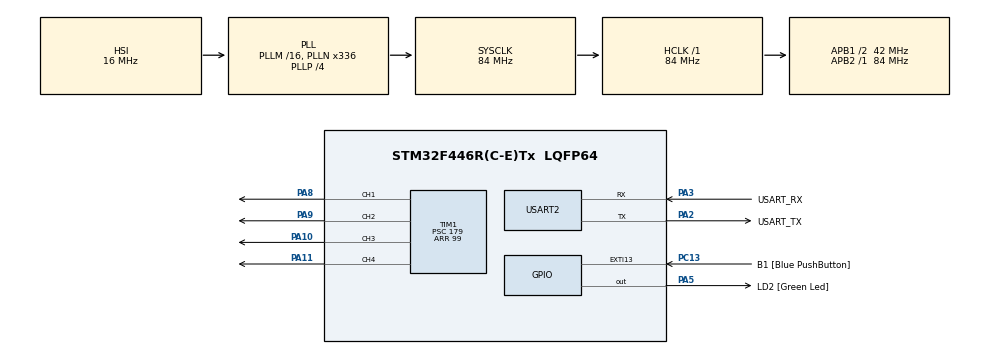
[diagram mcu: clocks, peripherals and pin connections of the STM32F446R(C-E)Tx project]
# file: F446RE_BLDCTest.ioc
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Mcu.Family=STM32F4
Mcu.Name=STM32F446R(C-E)Tx
Mcu.Package=LQFP64
NVIC.PriorityGroup=NVIC_PRIORITYGROUP_0
PA10.Signal=S_TIM1_CH3
PA11.Signal=S_TIM1_CH4
PA13.GPIO_Label=TMS
PA13.Mode=Serial_Wire
PA13.Signal=SYS_JTMS-SWDIO
PA14.GPIO_Label=TCK
PA14.Mode=Serial_Wire
PA14.Signal=SYS_JTCK-SWCLK
PA2.GPIO_Label=USART_TX
PA2.Mode=Asynchronous
PA2.Signal=USART2_TX
PA3.GPIO_Label=USART_RX
PA3.Mode=Asynchronous
PA3.Signal=USART2_RX
PA5.GPIO_Label=LD2 [Green Led]
PA5.Signal=GPIO_Output
PA8.Signal=S_TIM1_CH1
PA9.Signal=S_TIM1_CH2
PB3.GPIO_Label=SWO
PB3.Signal=SYS_JTDO-SWO
PC13.GPIO_Label=B1 [Blue PushButton]
PC13.GPIO_ModeDefaultEXTI=GPIO_MODE_IT_FALLING
PC13.Signal=GPXTI13
PC14-OSC32_IN.Mode=LSE-External-Oscillator
PC14-OSC32_IN.Signal=RCC_OSC32_IN
PC15-OSC32_OUT.Mode=LSE-External-Oscillator
PC15-OSC32_OUT.Signal=RCC_OSC32_OUT
PH0-OSC_IN.Mode=HSE-External-Oscillator
PH0-OSC_IN.Signal=RCC_OSC_IN
PH1-OSC_OUT.Mode=HSE-External-Oscillator
PH1-OSC_OUT.Signal=RCC_OSC_OUT
ProjectManager.HeapSize=0x200
ProjectManager.StackSize=0x400
ProjectManager.TargetToolchain=CMake
RCC.48MHZClocksFreq_Value=84000000
RCC.AHBFreq_Value=84000000
RCC.APB1CLKDivider=RCC_HCLK_DIV2
RCC.APB1Freq_Value=42000000
RCC.APB1TimFreq_Value=84000000
RCC.APB2Freq_Value=84000000
RCC.APB2TimFreq_Value=84000000
RCC.CortexFreq_Value=84000000
RCC.FLatency-AdvancedSettings=FLASH_LATENCY_2
RCC.HCLKFreq_Value=84000000
RCC.HSE_VALUE=8000000
RCC.HSI_VALUE=16000000
RCC.PLLN=336
RCC.PLLP=RCC_PLLP_DIV4
RCC.SYSCLKFreq_VALUE=84000000
RCC.SYSCLKSource=RCC_SYSCLKSOURCE_PLLCLK
RCC.USBFreq_Value=168000000
RCC.VCOOutputFreq_Value=336000000
SH.S_TIM1_CH1.0=TIM1_CH1,PWM Generation1 CH1
SH.S_TIM1_CH2.0=TIM1_CH2,PWM Generation2 CH2
SH.S_TIM1_CH3.0=TIM1_CH3,PWM Generation3 CH3
SH.S_TIM1_CH4.0=TIM1_CH4,PWM Generation4 CH4
TIM1.AutoReloadPreload=TIM_AUTORELOAD_PRELOAD_ENABLE
TIM1.Channel-PWM\ Generation1\ CH1=TIM_CHANNEL_1
TIM1.Channel-PWM\ Generation2\ CH2=TIM_CHANNEL_2
TIM1.Channel-PWM\ Generation3\ CH3=TIM_CHANNEL_3
TIM1.Channel-PWM\ Generation4\ CH4=TIM_CHANNEL_4
TIM1.Period=99
TIM1.Prescaler=179
TIM1.TIM_MasterOutputTrigger=TIM_TRGO_ENABLE
TIM1.TIM_MasterSlaveMode=TIM_MASTERSLAVEMODE_DISABLE
USART2.VirtualMode=VM_ASYNC
board=NUCLEO-F446RE

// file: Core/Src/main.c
/* USER CODE BEGIN Header */
/**
  ******************************************************************************
  * @file           : main.c
  * @brief          : Main program body
  ******************************************************************************
  * @attention
  *
  * Copyright (c) 2026 STMicroelectronics.
  * All rights reserved.
  *
  * This software is licensed under terms that can be found in the LICENSE file
  * in the root directory of this software component.
  * If no LICENSE file comes with this software, it is provided AS-IS.
  *
  ******************************************************************************
  */
/* USER CODE END Header */
#include "main.h"

/* USER CODE BEGIN Includes */
#include <stdio.h>
#include <math.h>
#include <sys/_intsup.h>

/* USER CODE END Includes */

TIM_HandleTypeDef htim1;

UART_HandleTypeDef huart2;

void SystemClock_Config(void);
static void MX_GPIO_Init(void);
static void MX_TIM1_Init(void);
static void MX_USART2_UART_Init(void);

/* USER CODE BEGIN 0 */
// モーター制御の変数を定義
float dCurr = 0.0f;  // d軸電流
float qCurr = 0.0f;  // q軸電流

float aCurr = 0.0f;  // α軸電流
float bCurr = 0.0f;  // β軸電流

float uCurr = 0.0f;  // U相電流
float vCurr = 0.0f;  // V相電流
float wCurr = 0.0f;  // W相電流

float norCurr[3] = {0.0f, 0.0f, 0.0f};  // 正規化された各相Duty指令値
int outDuty[3] = {0, 0, 0};  // 各相の出力Duty指令値

int nowDeg = 0;  // 現在の角度（度数法）
float nowRad = 0.0f;  // 現在の角度（ラジアン）
int increment = 1;  // 角度の増分（度数法）

// モーター制御用のクラーク変換とパーク変換の関数を定義
float calcClarkeA(float uCurr, float vCurr, float wCurr) {
    float aCurr = 0.666667f * (uCurr - 0.5f * vCurr - 0.5f * wCurr);
    return aCurr;
}

// クラーク変換（β軸成分）
float calcClarkeB(float uCurr, float vCurr, float wCurr) {
    float bCurr = 0.666667f * 0.866025f * (vCurr - wCurr);
    return bCurr;
}

// パーク変換 (d軸成分)
float calcParkD(float aCurr, float bCurr, float rad) {
    float dCurr = cosf(rad) * aCurr + sinf(rad) * bCurr;
    return dCurr;
}

// パーク変換 (q軸成分)
float calcParkQ(float aCurr, float bCurr, float rad) {
    float qCurr = -sinf(rad) * aCurr + cosf(rad) * bCurr;
    return qCurr;
}

// 逆パーク変換 (α軸成分)
float calcInvParkA(float dCurr, float qCurr, float rad) {
    float aCurr = cosf(rad) * dCurr - sinf(rad) * qCurr;
    return aCurr;
}

// 逆パーク変換 (β軸成分)
float calcInvParkB(float dCurr, float qCurr, float rad) {
    float bCurr = sinf(rad) * dCurr + cosf(rad) * qCurr;
    return bCurr;
}

// 逆クラーク変換
float calcInvClarke(float alpha, float beta, int phase) {
    // phase → U:0, V:1, W:2
    float angle = (2.0f * (float)M_PI * (float)phase) / 3.0f;
    float hoge = alpha * cosf(angle) + beta * sinf(angle);
    return hoge;
}

// PWMデューティ比を計算する関数
int calcDuty(float norCurr, int limitDuty, int maxDuty) {
  float hoge = 0.5f * norCurr;
  int pwm = (int)(hoge * limitDuty + maxDuty / 2.0f);
  return pwm;
}

/* USER CODE END 0 */

int main(void)
{

  /* MCU Configuration--------------------------------------------------------*/

  /* Reset of all peripherals, Initializes the Flash interface and the Systick. */  HAL_Init();

  /* Configure the system clock */
  SystemClock_Config();

  /* Initialize all configured peripherals */
  MX_GPIO_Init();
  MX_TIM1_Init();
  MX_USART2_UART_Init();

  /* Infinite loop */
  /* USER CODE BEGIN WHILE */
  //　モーターに入力したい指令電流
  dCurr = 0.05f;  // d軸電流
  qCurr = 0.0f;  // q軸電流

  printf("init\n");
  printf("increment:%d\n", increment);
  printf("dCurr:%f\n", dCurr);
  printf("qCurr:%f\n", qCurr);

  //TIM1を初期化
  MX_TIM1_Init();
  HAL_TIM_PWM_Start(&htim1, TIM_CHANNEL_1);  //PA8 (D7)
  HAL_TIM_PWM_Start(&htim1, TIM_CHANNEL_2);  //PA9 (D8)
  HAL_TIM_PWM_Start(&htim1, TIM_CHANNEL_3);  //PA10 (D2)
  HAL_TIM_PWM_Start(&htim1, TIM_CHANNEL_4);  //PA11

  // モーターの電気角を0°にする
  HAL_GPIO_WritePin(LD2_GPIO_Port, LD2_Pin, 1);  // LED ON

  aCurr = calcInvParkA(dCurr, qCurr, nowRad);  // 逆パーク変換でα軸電流を計算
  bCurr = calcInvParkB(dCurr, qCurr, nowRad);  // 逆パーク変換でβ軸電流を計算

  for(int i=0; i<3; i++){
    norCurr[i] = calcInvClarke(aCurr, bCurr, i);  // 逆クラーク変換で各相電流を計算
    outDuty[i] = calcDuty(norCurr[i], 90, 100);  // 各相の出力デューティ比を計算
  }

  __HAL_TIM_SET_COMPARE(&htim1, TIM_CHANNEL_1, outDuty[0]);  // PWMデューティ比を設定
  __HAL_TIM_SET_COMPARE(&htim1, TIM_CHANNEL_2, outDuty[1]);  // PWMデューティ比を設定
  __HAL_TIM_SET_COMPARE(&htim1, TIM_CHANNEL_3, outDuty[2]);  // PWMデューティ比を設定

  HAL_Delay(1000);

  while (1)
  {
    HAL_GPIO_WritePin(LD2_GPIO_Port, LD2_Pin, 0);  // LED ON
    /*
    このプログラムではモーター指令電流を決め打ちしている。
    実際は、センサーからの角度情報や速度情報をもとに、d軸電流とq軸電流を計算する必要がある。
    またq軸電流を指令値、d軸電流を0にするPI制御を実装する必要がある。
    */
    dCurr = 0.0f;
    qCurr = 0.05f;

    if(nowDeg >= 360){
      nowDeg = 0;
      HAL_GPIO_WritePin(LD2_GPIO_Port, LD2_Pin, 1);  // LED ON
    }else if(nowDeg < 0){
      nowDeg = 360;
      HAL_GPIO_WritePin(LD2_GPIO_Port, LD2_Pin, 1);  // LED ON
    }else{
      nowDeg += increment;  // 角度を増分
    }

    nowRad = (float)nowDeg * (float)M_PI / 180.0f;  // 現在の角度をラジアンに変換
    aCurr = calcInvParkA(dCurr, qCurr, nowRad);  // 逆パーク変換でα軸電流を計算
    bCurr = calcInvParkB(dCurr, qCurr, nowRad);  // 逆パーク変換でβ軸電流を計算

    for(int i=0; i<3; i++){
      norCurr[i] = calcInvClarke(aCurr, bCurr, i);  // 逆クラーク変換で各相電流を計算
      outDuty[i] = calcDuty(norCurr[i], 90, 100);  // 各相の出力デューティ比を計算
    }

    __HAL_TIM_SET_COMPARE(&htim1, TIM_CHANNEL_1, outDuty[0]);  // PWMデューティ比を設定
    __HAL_TIM_SET_COMPARE(&htim1, TIM_CHANNEL_2, outDuty[1]);  // PWMデューティ比を設定
    __HAL_TIM_SET_COMPARE(&htim1, TIM_CHANNEL_3, outDuty[2]);  // PWMデューティ比を設定

    /*
    printf(">URawCurr:%f\n", norCurr[0]);
    printf(">VRawCurr:%f\n", norCurr[1]);
    printf(">WRawCurr:%f\n", norCurr[2]);

    printf(">UDuty:%d\n", outDuty[0]);
    printf(">VDuty:%d\n", outDuty[1]);
    printf(">WDuty:%d\n", outDuty[2]);
    */

    HAL_Delay(1);

    /* USER CODE END WHILE */

  }
}

void SystemClock_Config(void)
{
  RCC_OscInitTypeDef RCC_OscInitStruct = {0};
  RCC_ClkInitTypeDef RCC_ClkInitStruct = {0};

  /** Configure the main internal regulator output voltage
  */
  __HAL_RCC_PWR_CLK_ENABLE();
  __HAL_PWR_VOLTAGESCALING_CONFIG(PWR_REGULATOR_VOLTAGE_SCALE3);

  /** Initializes the RCC Oscillators according to the specified parameters
  * in the RCC_OscInitTypeDef structure.
  */
  RCC_OscInitStruct.OscillatorType = RCC_OSCILLATORTYPE_HSI;
  RCC_OscInitStruct.HSIState = RCC_HSI_ON;
  RCC_OscInitStruct.HSICalibrationValue = RCC_HSICALIBRATION_DEFAULT;
  RCC_OscInitStruct.PLL.PLLState = RCC_PLL_ON;
  RCC_OscInitStruct.PLL.PLLSource = RCC_PLLSOURCE_HSI;
  RCC_OscInitStruct.PLL.PLLM = 16;
  RCC_OscInitStruct.PLL.PLLN = 336;
  RCC_OscInitStruct.PLL.PLLP = RCC_PLLP_DIV4;
  RCC_OscInitStruct.PLL.PLLQ = 2;
  RCC_OscInitStruct.PLL.PLLR = 2;
  if (HAL_RCC_OscConfig(&RCC_OscInitStruct) != HAL_OK)
  {
    Error_Handler();
  }

  /** Initializes the CPU, AHB and APB buses clocks
  */
  RCC_ClkInitStruct.ClockType = RCC_CLOCKTYPE_HCLK|RCC_CLOCKTYPE_SYSCLK
                              |RCC_CLOCKTYPE_PCLK1|RCC_CLOCKTYPE_PCLK2;
  RCC_ClkInitStruct.SYSCLKSource = RCC_SYSCLKSOURCE_PLLCLK;
  RCC_ClkInitStruct.AHBCLKDivider = RCC_SYSCLK_DIV1;
  RCC_ClkInitStruct.APB1CLKDivider = RCC_HCLK_DIV2;
  RCC_ClkInitStruct.APB2CLKDivider = RCC_HCLK_DIV1;

  if (HAL_RCC_ClockConfig(&RCC_ClkInitStruct, FLASH_LATENCY_2) != HAL_OK)
  {
    Error_Handler();
  }
}

static void MX_TIM1_Init(void)
{

  TIM_MasterConfigTypeDef sMasterConfig = {0};
  TIM_OC_InitTypeDef sConfigOC = {0};
  TIM_BreakDeadTimeConfigTypeDef sBreakDeadTimeConfig = {0};

  htim1.Instance = TIM1;
  htim1.Init.Prescaler = 179;
  htim1.Init.CounterMode = TIM_COUNTERMODE_UP;
  htim1.Init.Period = 99;
  htim1.Init.ClockDivision = TIM_CLOCKDIVISION_DIV1;
  htim1.Init.RepetitionCounter = 0;
  htim1.Init.AutoReloadPreload = TIM_AUTORELOAD_PRELOAD_ENABLE;
  if (HAL_TIM_PWM_Init(&htim1) != HAL_OK)
  {
    Error_Handler();
  }
  sMasterConfig.MasterOutputTrigger = TIM_TRGO_ENABLE;
  sMasterConfig.MasterSlaveMode = TIM_MASTERSLAVEMODE_DISABLE;
  if (HAL_TIMEx_MasterConfigSynchronization(&htim1, &sMasterConfig) != HAL_OK)
  {
    Error_Handler();
  }
  sConfigOC.OCMode = TIM_OCMODE_PWM1;
  sConfigOC.Pulse = 0;
  sConfigOC.OCPolarity = TIM_OCPOLARITY_HIGH;
  sConfigOC.OCNPolarity = TIM_OCNPOLARITY_HIGH;
  sConfigOC.OCFastMode = TIM_OCFAST_DISABLE;
  sConfigOC.OCIdleState = TIM_OCIDLESTATE_RESET;
  sConfigOC.OCNIdleState = TIM_OCNIDLESTATE_RESET;
  if (HAL_TIM_PWM_ConfigChannel(&htim1, &sConfigOC, TIM_CHANNEL_1) != HAL_OK)
  {
    Error_Handler();
  }
  if (HAL_TIM_PWM_ConfigChannel(&htim1, &sConfigOC, TIM_CHANNEL_2) != HAL_OK)
  {
    Error_Handler();
  }
  if (HAL_TIM_PWM_ConfigChannel(&htim1, &sConfigOC, TIM_CHANNEL_3) != HAL_OK)
  {
    Error_Handler();
  }
  if (HAL_TIM_PWM_ConfigChannel(&htim1, &sConfigOC, TIM_CHANNEL_4) != HAL_OK)
  {
    Error_Handler();
  }
  sBreakDeadTimeConfig.OffStateRunMode = TIM_OSSR_DISABLE;
  sBreakDeadTimeConfig.OffStateIDLEMode = TIM_OSSI_DISABLE;
  sBreakDeadTimeConfig.LockLevel = TIM_LOCKLEVEL_OFF;
  sBreakDeadTimeConfig.DeadTime = 0;
  sBreakDeadTimeConfig.BreakState = TIM_BREAK_DISABLE;
  sBreakDeadTimeConfig.BreakPolarity = TIM_BREAKPOLARITY_HIGH;
  sBreakDeadTimeConfig.AutomaticOutput = TIM_AUTOMATICOUTPUT_DISABLE;
  if (HAL_TIMEx_ConfigBreakDeadTime(&htim1, &sBreakDeadTimeConfig) != HAL_OK)
  {
    Error_Handler();
  }
  HAL_TIM_MspPostInit(&htim1);

}

static void MX_USART2_UART_Init(void)
{

  huart2.Instance = USART2;
  huart2.Init.BaudRate = 115200;
  huart2.Init.WordLength = UART_WORDLENGTH_8B;
  huart2.Init.StopBits = UART_STOPBITS_1;
  huart2.Init.Parity = UART_PARITY_NONE;
  huart2.Init.Mode = UART_MODE_TX_RX;
  huart2.Init.HwFlowCtl = UART_HWCONTROL_NONE;
  huart2.Init.OverSampling = UART_OVERSAMPLING_16;
  if (HAL_UART_Init(&huart2) != HAL_OK)
  {
    Error_Handler();
  }

}

static void MX_GPIO_Init(void)
{
  GPIO_InitTypeDef GPIO_InitStruct = {0};

  /* GPIO Ports Clock Enable */
  __HAL_RCC_GPIOC_CLK_ENABLE();
  __HAL_RCC_GPIOH_CLK_ENABLE();
  __HAL_RCC_GPIOA_CLK_ENABLE();
  __HAL_RCC_GPIOB_CLK_ENABLE();

  /*Configure GPIO pin Output Level */
  HAL_GPIO_WritePin(LD2_GPIO_Port, LD2_Pin, GPIO_PIN_RESET);

  /*Configure GPIO pin : B1_Pin */
  GPIO_InitStruct.Pin = B1_Pin;
  GPIO_InitStruct.Mode = GPIO_MODE_IT_FALLING;
  GPIO_InitStruct.Pull = GPIO_NOPULL;
  HAL_GPIO_Init(B1_GPIO_Port, &GPIO_InitStruct);

  /*Configure GPIO pin : LD2_Pin */
  GPIO_InitStruct.Pin = LD2_Pin;
  GPIO_InitStruct.Mode = GPIO_MODE_OUTPUT_PP;
  GPIO_InitStruct.Pull = GPIO_NOPULL;
  GPIO_InitStruct.Speed = GPIO_SPEED_FREQ_LOW;
  HAL_GPIO_Init(LD2_GPIO_Port, &GPIO_InitStruct);

}

/* USER CODE BEGIN 4 */
int __io_putchar(int ch)
{
    HAL_UART_Transmit(&huart2, (uint8_t *)&ch, 1, HAL_MAX_DELAY);
    return ch;
}

/* USER CODE END 4 */

void Error_Handler(void)
{
  __disable_irq();
  while (1)
  {
  }
}
